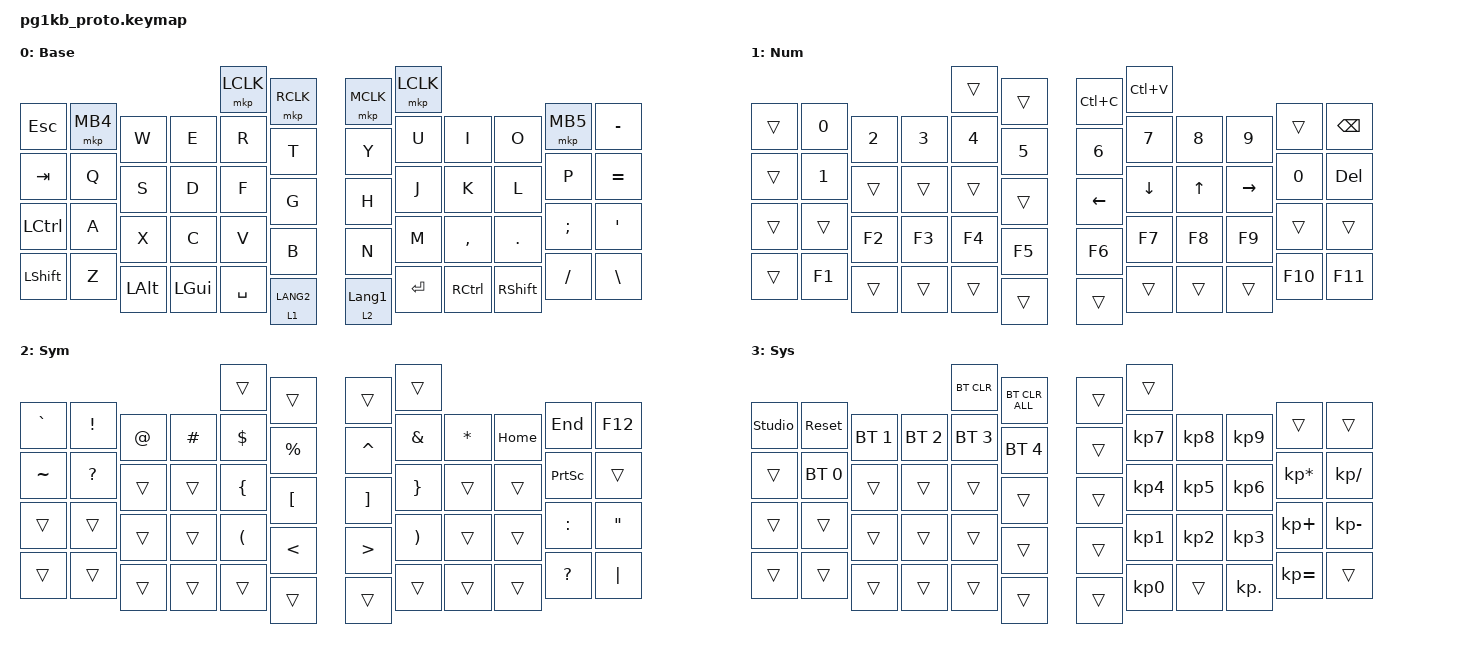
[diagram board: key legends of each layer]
#include <input/processors.dtsi>
#include <dt-bindings/zmk/input_transform.h>
#include <behaviors.dtsi>
#include <dt-bindings/zmk/bt.h>
#include <dt-bindings/zmk/keys.h>
#include <dt-bindings/zmk/pointing.h>

/ {
    behaviors {
        lt {
            tapping-term-ms = <150>;
            quick-tap-ms = <200>;
        };
    };

    combos {
        compatible = "zmk,combos";

        /*
         * layers はコンボ発火時の「最上位のアクティブレイヤー」と比較される。
         * <0> は他のレイヤーを保持していない状態、つまり Base のみを意味する。
         */
        combo-bs {
            bindings = <&kp BACKSPACE>;
            key-positions = <27 28>;
            layers = <0>;
        };

        combo-del {
            bindings = <&kp DELETE>;
            key-positions = <28 29>;
            layers = <0>;
        };

        combo-enter {
            bindings = <&kp ENTER>;
            key-positions = <27 28 29>;
            layers = <0>;
        };

        combo-bs-left {
            bindings = <&kp BACKSPACE>;
            key-positions = <22 23>;
            layers = <0>;
        };

        combo-del-left {
            bindings = <&kp DELETE>;
            key-positions = <23 24>;
            layers = <0>;
        };

        combo-enter-left {
            bindings = <&kp ENTER>;
            key-positions = <22 23 24>;
            layers = <0>;
        };

        /* Num レイヤーのコピー + ペースト同時押しでカット */
        combo-cut {
            bindings = <&kp LC(X)>;
            key-positions = <4 5>;
            layers = <1>;
        };

        /* 左クリック + 右クリック同時押しでミドルクリック */
        combo-mclk {
            bindings = <&mkp MCLK>;
            key-positions = <2 3>;
            layers = <0>;
        };

        /* 左手最下段の LEFT_ALT + LEFT_GUI 同時押しで Sys レイヤー（押している間だけ） */
        combo-sys {
            bindings = <&mo 3>;
            key-positions = <44 45>;
            layers = <0>;
        };
    };

    keymap {
        compatible = "zmk,keymap";

        default_layer {
            display-name = "Base";
            bindings = <
&kp ESC         &mkp MB4                              &mkp LCLK  &mkp RCLK      &mkp MCLK         &mkp LCLK                         &mkp MB5   &kp MINUS
&kp TAB         &kp Q     &kp W         &kp E         &kp R      &kp T          &kp Y             &kp U      &kp I      &kp O       &kp P      &kp EQUAL
&kp LCTRL       &kp A     &kp S         &kp D         &kp F      &kp G          &kp H             &kp J      &kp K      &kp L       &kp SEMI   &kp SINGLE_QUOTE
&kp LEFT_SHIFT  &kp Z     &kp X         &kp C         &kp V      &kp B          &kp N             &kp M      &kp COMMA  &kp PERIOD  &kp SLASH  &kp BACKSLASH
                          &kp LEFT_ALT  &kp LEFT_GUI  &kp SPACE  &lt 1 LANG2    &lt 2 LANGUAGE_1  &kp ENTER  &kp RCTRL  &kp RSHIFT
            >;
        };

        layer_1 {
            display-name = "Num";
            bindings = <
&trans  &kp N0                  &trans  &trans    &kp LC(C)  &kp LC(V)                     &trans   &kp BSPC
&trans  &kp N1  &kp N2  &kp N3  &kp N4  &kp N5    &kp N6     &kp N7     &kp N8  &kp N9     &kp N0   &kp DEL
&trans  &trans  &trans  &trans  &trans  &trans    &kp LEFT   &kp DOWN   &kp UP  &kp RIGHT  &trans   &trans
&trans  &kp F1  &kp F2  &kp F3  &kp F4  &kp F5    &kp F6     &kp F7     &kp F8  &kp F9     &kp F10  &kp F11
                &trans  &trans  &trans  &trans    &trans     &trans     &trans  &trans
            >;
        };

        layer_2 {
            display-name = "Sym";
            bindings = <
&kp GRAVE  &kp EXCL                             &trans                &trans           &trans            &trans                                         &kp END          &kp F12
&kp TILDE  &kp QUESTION  &kp AT_SIGN  &kp HASH  &kp DOLLAR            &kp PERCENT      &kp CARET         &kp AMPERSAND          &kp ASTERISK  &kp HOME  &kp PRINTSCREEN  &trans
&trans     &trans        &trans       &trans    &kp LEFT_BRACE        &kp LBKT         &kp RBKT          &kp RIGHT_BRACE        &trans        &trans    &kp COLON        &kp DOUBLE_QUOTES
&trans     &trans        &trans       &trans    &kp LEFT_PARENTHESIS  &kp LESS_THAN    &kp GREATER_THAN  &kp RIGHT_PARENTHESIS  &trans        &trans    &kp QUESTION     &kp PIPE
                         &trans       &trans    &trans                &trans           &trans            &trans                 &trans        &trans
            >;
        };

        layer_3 {
            display-name = "Sys";
            bindings = <
&studio_unlock  &sys_reset                                &bt BT_CLR    &bt BT_CLR_ALL    &trans  &trans                            &trans           &trans
&trans          &bt BT_SEL 0  &bt BT_SEL 1  &bt BT_SEL 2  &bt BT_SEL 3  &bt BT_SEL 4      &trans  &kp KP_N7  &kp KP_N8  &kp KP_N9   &kp KP_MULTIPLY  &kp KP_DIVIDE
&trans          &trans        &trans        &trans        &trans        &trans            &trans  &kp KP_N4  &kp KP_N5  &kp KP_N6   &kp KP_PLUS      &kp KP_MINUS
&trans          &trans        &trans        &trans        &trans        &trans            &trans  &kp KP_N1  &kp KP_N2  &kp KP_N3   &kp KP_EQUAL     &trans
                              &trans        &trans        &trans        &trans            &trans  &kp KP_N0  &trans     &kp KP_DOT
            >;
        };

        /*
         * ZMK Studio でのみ使える予備レイヤー。
         * status = "reserved" のレイヤーは通常ビルドでは無視され、
         * Studio 有効ビルドでのみ「追加できるレイヤー」として現れる。
         */
        extra_1 {
            status = "reserved";
        };

        extra_2 {
            status = "reserved";
        };
    };
};

/*
 * トラックボールの役割：
 *
 *            左ボール                   右ボール
 *   Base     スクロール     1/2 + 慣性  カーソル      3/2
 *   Num      カーソル       3/2         精密カーソル  1/2         ← 両手でポインタ操作
 *   Sym      精密スクロール 1/6 + 慣性  スクロール    1/2 + 慣性  ← 両手でスクロール操作
 *
 * 「精密」は通常の 1/3 の速さ（カーソル 3/2 → 1/2、スクロール 1/2 → 1/6）。
 * zip_*_scaler は <乗数 除数> で余りを繰り越すので、分数倍でも動きは失われない。
 *
 * スムーススクロール（CONFIG_ZMK_POINTING_SMOOTH_SCROLLING）を有効にしているため、
 * ホストは wheel 16 単位を 1 ノッチとして扱う。非スムース時の 1/16・1/48 を
 * それぞれ 16 倍した 等倍・1/3 が、従来と同じスクロール量に相当する。慣性導入後は
 * 1 フリックの移動距離が伸びるため、スクロール量を 1/2・1/6 に落としている。
 *
 * センサーの向きと zip_xy_transform：
 *
 * 光学センサーは左右とも、以前の実装から見て「上から見て反時計回りに 90 度」回した
 * 向きで載せている。この 1/4 回転ぶんを前段で打ち消すのが各チェーン先頭の
 * zip_xy_transform。旧チェーンは全て XY_SWAP を含んでいたが、回転を打ち消すと
 * SWAP が消えて軸の反転だけが残る。
 *
 *   右ボール カーソル    XY_SWAP | X_INVERT            → （変換なし）
 *   右ボール スクロール  XY_SWAP | X_INVERT | Y_INVERT → Y_INVERT
 *   左ボール カーソル    XY_SWAP | Y_INVERT            → X_INVERT
 *   左ボール スクロール  XY_SWAP                       → X_INVERT | Y_INVERT
 *
 * 右ボールはこの向きでセンサーの X/Y がそのままカーソルの X/Y に一致するので変換不要。
 * 左ボールは X だけ反転（X_INVERT）で一致する。
 *
 * つまり左右のセンサーは「180 度回転の関係」ではなく「X を反転した鏡像の関係」で
 * 載っている。回転前のフラグから素直に計算すると左カーソルは X_INVERT | Y_INVERT に
 * なるはずだが、それだと実機で上下が逆になったため、Y_INVERT を外している。
 *
 * ここは残しておくと向きを直すときの当たりを付けやすいので、右手側も
 * <&zip_xy_transform 0> の形でノードごと残してある。
 *
 * スクロールとカーソル移動では Y の符号の意味が逆（REL_Y は正が下、
 * REL_WHEEL は正が上）なので、同じボールのカーソルチェーンとスクロールチェーンは
 * 必ず Y_INVERT の有無だけが違う形になる。今の向きでは左右ともスクロール側に付く。
 *
 * DYA Studio と rip_*_cursor：
 *
 * カーソルチェーンの末尾にある rip_left_cursor / rip_right_cursor は、DYA Studio の
 * Trackball タブから感度を変えるための runtime input processor（定義は .dtsi）。
 * 初期値は 1/1 倍なので、書き込んだ直後の操作感は上の表のままになる。
 *
 * スクロールチェーンには入れていない。慣性スクロールは scale / scale-div が後段の
 * zip_scroll_scaler と一致していることを前提に速度を決めているため、Web から倍率を
 * 変えると「ボールを回している間」と「慣性で流れている間」で速度が食い違うため。
 */
&left_trackball_listener {
    /* Base: スクロール 1/2 + 慣性 */
    input-processors =
        <&zip_xy_transform (INPUT_TRANSFORM_X_INVERT | INPUT_TRANSFORM_Y_INVERT)>,
        <&zip_xy_to_scroll_mapper>,
        <&scroll_inertia_left_base>,
        <&zip_scroll_scaler 1 2>;

    move_on_num {
        layers = <1>;
        input-processors =
            <&zip_xy_transform INPUT_TRANSFORM_X_INVERT>,
            <&zip_xy_scaler 3 2>,
            <&rip_left_cursor>;
    };

    precise_scroll_on_sym {
        layers = <2>;
        input-processors =
            <&zip_xy_transform (INPUT_TRANSFORM_X_INVERT | INPUT_TRANSFORM_Y_INVERT)>,
            <&zip_xy_to_scroll_mapper>,
            <&scroll_inertia_left_sym>,
            <&zip_scroll_scaler 1 6>;
    };
};

&right_trackball_listener {
    /* デフォルト（カーソル）はセンサーの軸がそのまま使えるので変換なし */
    input-processors =
        <&zip_xy_transform 0>,
        <&zip_xy_scaler 3 2>,
        <&rip_right_cursor>;

    precise_move_on_num {
        layers = <1>;
        input-processors =
            <&zip_xy_transform 0>,
            <&zip_xy_scaler 1 2>,
            <&rip_right_cursor>;
    };

    scroll_on_sym {
        layers = <2>;
        input-processors =
            <&zip_xy_transform INPUT_TRANSFORM_Y_INVERT>,
            <&zip_xy_to_scroll_mapper>,
            <&scroll_inertia_right_sym>,
            <&zip_scroll_scaler 1 2>;
    };
};
